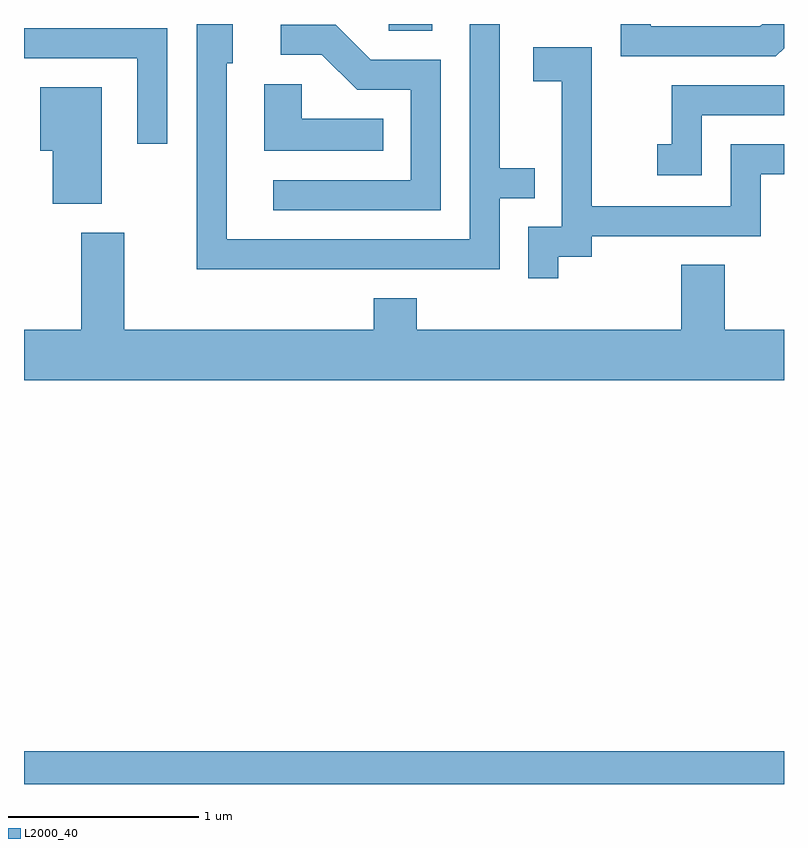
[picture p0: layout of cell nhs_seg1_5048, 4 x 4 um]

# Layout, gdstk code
import gdstk
lib = gdstk.Library(unit=1e-6, precision=1e-09)
def R(c, l, rs):  # rectangles x0, y0, x1, y1
    for r in rs: c.add(gdstk.rectangle(r[:2], r[2:], *l))
def P(c, l, *ps):  # polygons
    for p in ps: c.add(gdstk.Polygon(p, *l))
L2000_40 = (2000, 40)

nhs_seg1_5048 = lib.new_cell('nhs_seg1_5048')
R(nhs_seg1_5048, L2000_40, [(337.611,859.712,341.611,859.884), (339.531,863.676,339.759,863.712)])
P(nhs_seg1_5048, L2000_40, [(340.114,862.796),(340.298,862.796),(340.298,862.954),(340.114,862.954),(340.114,863.712),(339.956,863.712),(339.956,862.579),(338.679,862.579),(338.679,863.506),(338.709,863.506),(338.709,863.712),(338.521,863.712),(338.521,862.421),(340.114,862.421)],
  [(341.611,863.585),(341.611,863.712),(341.497,863.712),(341.484,863.699),(340.909,863.699),(340.909,863.712),(340.751,863.712),(340.751,863.541),(341.567,863.541)],
  [(339.804,863.524),(339.437,863.524),(339.252,863.709),(338.963,863.709),(338.963,863.551),(339.179,863.551),(339.364,863.366),(339.646,863.366),(339.646,862.889),(338.923,862.889),(338.923,862.731),(339.804,862.731)],
  [(338.364,863.689),(337.611,863.689),(337.611,863.531),(338.206,863.531),(338.206,863.083),(338.364,863.083)],
  [(340.424,862.486),(340.599,862.486),(340.599,862.596),(341.489,862.596),(341.489,862.921),(341.611,862.921),(341.611,863.079),(341.331,863.079),(341.331,862.754),(340.599,862.754),(340.599,863.589),(340.291,863.589),(340.291,863.411),(340.441,863.411),(340.441,862.644),(340.266,862.644),(340.266,862.373),(340.424,862.373)],
  [(339.503,863.214),(339.074,863.214),(339.074,863.394),(338.876,863.394),(338.876,863.046),(339.503,863.046)],
  [(341.179,863.231),(341.611,863.231),(341.611,863.389),(341.021,863.389),(341.021,863.079),(340.943,863.079),(340.943,862.916),(341.179,862.916)],
  [(338.019,863.379),(337.696,863.379),(337.696,863.046),(337.761,863.046),(337.761,862.766),(338.019,862.766)],
  [(341.611,862.104),(341.299,862.104),(341.299,862.444),(341.071,862.444),(341.071,862.104),(339.679,862.104),(339.679,862.269),(339.451,862.269),(339.451,862.104),(338.139,862.104),(338.139,862.614),(337.911,862.614),(337.911,862.104),(337.611,862.104),(337.611,861.836),(341.611,861.836)])

lib.write_gds('nhs_seg1_5048.gds')
